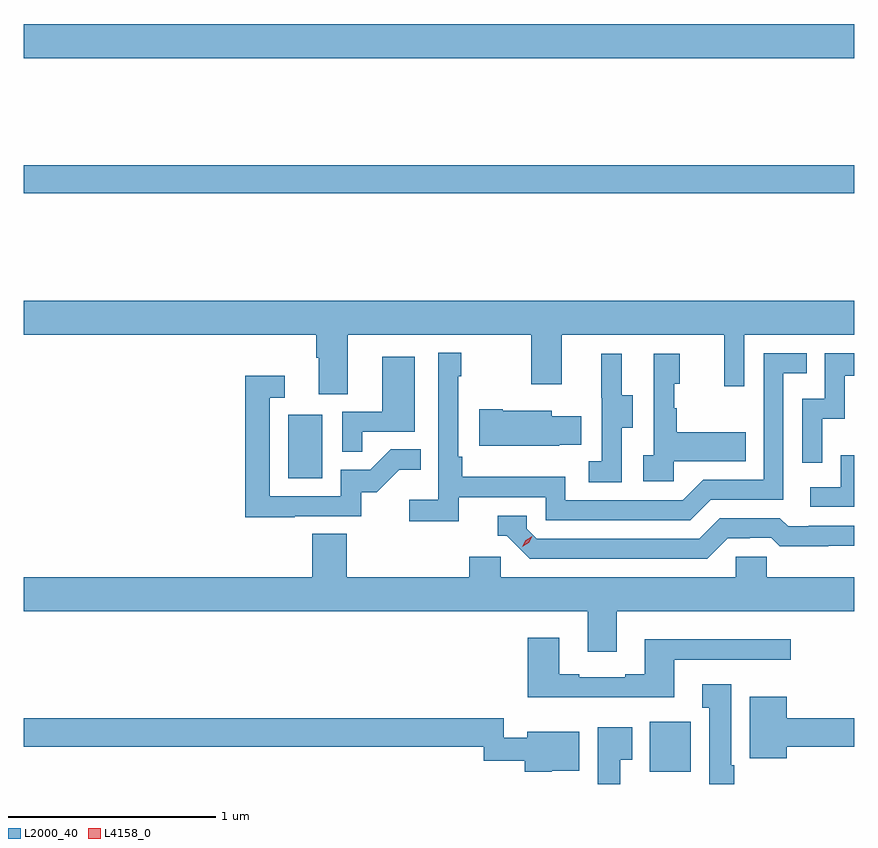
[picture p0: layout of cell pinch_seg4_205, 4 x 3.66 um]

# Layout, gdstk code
import gdstk
lib = gdstk.Library(unit=1e-6, precision=1e-09)
def R(c, l, rs):  # rectangles x0, y0, x1, y1
    for r in rs: c.add(gdstk.rectangle(r[:2], r[2:], *l))
def P(c, l, *ps):  # polygons
    for p in ps: c.add(gdstk.Polygon(p, *l))
L2000_40 = (2000, 40)
L4158_0 = (4158, 0)

pinch_seg4_205 = lib.new_cell('pinch_seg4_205')
R(pinch_seg4_205, L2000_40, [(966.041,812.03,966.238,812.272), (964.298,813.444,964.462,813.751), (963.025,814.816,967.025,814.952), (963.025,815.468,967.025,815.632)])
P(pinch_seg4_205, L2000_40, [(964.585,814.136),(965.47,814.136),(965.47,813.897),(965.617,813.897),(965.617,814.136),(966.398,814.136),(966.398,813.888),(966.495,813.888),(966.495,814.136),(967.025,814.136),(967.025,814.3),(963.025,814.3),(963.025,814.136),(964.433,814.136),(964.433,814.024),(964.445,814.024),(964.445,813.85),(964.585,813.85)],
  [(965.12,813.354),(965.538,813.354),(965.538,813.243),(966.235,813.243),(966.334,813.342),(966.684,813.342),(966.684,813.951),(966.797,813.951),(966.797,814.047),(966.588,814.047),(966.588,813.438),(966.297,813.438),(966.198,813.339),(965.634,813.339),(965.634,813.451),(965.138,813.451),(965.138,813.547),(965.118,813.547),(965.118,813.935),(965.131,813.935),(965.131,814.048),(965.022,814.048),(965.022,813.34),(964.881,813.34),(964.881,813.238),(965.12,813.238)],
  [(966.87,813.731),(966.98,813.731),(966.98,813.939),(967.025,813.939),(967.025,814.047),(966.882,814.047),(966.882,813.828),(966.774,813.828),(966.774,813.519),(966.87,813.519)],
  [(966.156,813.527),(966.503,813.527),(966.503,813.667),(966.169,813.667),(966.169,813.782),(966.159,813.782),(966.159,813.9),(966.184,813.9),(966.184,814.045),(966.06,814.045),(966.06,813.554),(966.009,813.554),(966.009,813.429),(966.156,813.429)],
  [(965.904,813.688),(965.959,813.688),(965.959,813.843),(965.905,813.843),(965.905,814.045),(965.807,814.045),(965.807,813.831),(965.808,813.831),(965.808,813.527),(965.745,813.527),(965.745,813.424),(965.904,813.424)],
  [(964.655,813.669),(964.909,813.669),(964.909,814.03),(964.751,814.03),(964.751,813.765),(964.56,813.765),(964.56,813.571),(964.655,813.571)],
  [(964.331,813.261),(964.65,813.261),(964.65,813.378),(964.726,813.378),(964.833,813.485),(964.937,813.485),(964.937,813.584),(964.793,813.584),(964.695,813.486),(964.551,813.486),(964.551,813.357),(964.209,813.357),(964.209,813.831),(964.282,813.831),(964.282,813.937),(964.093,813.937),(964.093,813.256),(964.331,813.256)],
  [(965.603,813.605),(965.711,813.605),(965.711,813.742),(965.568,813.742),(965.568,813.769),(965.332,813.769),(965.332,813.777),(965.22,813.777),(965.22,813.602),(965.603,813.602)],
  [(967.025,813.556),(966.96,813.556),(966.96,813.402),(966.813,813.402),(966.813,813.306),(967.025,813.306)],
  [(966.415,813.156),(966.522,813.156),(966.522,813.159),(966.625,813.159),(966.667,813.117),(966.9,813.117),(966.9,813.119),(967.025,813.119),(967.025,813.216),(966.805,813.216),(966.805,813.213),(966.706,813.213),(966.667,813.252),(966.378,813.252),(966.279,813.153),(965.496,813.153),(965.448,813.201),(965.448,813.264),(965.309,813.264),(965.309,813.168),(965.352,813.168),(965.463,813.057),(966.316,813.057)],
  [(965.881,812.804),(967.025,812.804),(967.025,812.968),(966.603,812.968),(966.603,813.066),(966.453,813.066),(966.453,812.968),(965.322,812.968),(965.322,813.066),(965.171,813.066),(965.171,812.968),(964.58,812.968),(964.58,813.176),(964.415,813.176),(964.415,812.968),(963.025,812.968),(963.025,812.804),(965.741,812.804),(965.741,812.61),(965.881,812.61)],
  [(966.157,812.571),(966.718,812.571),(966.718,812.668),(966.017,812.668),(966.017,812.5),(965.921,812.5),(965.921,812.487),(965.701,812.487),(965.701,812.5),(965.605,812.5),(965.605,812.677),(965.453,812.677),(965.453,812.39),(966.157,812.39)],
  [(966.448,812.062),(966.433,812.062),(966.433,812.452),(966.293,812.452),(966.293,812.339),(966.326,812.339),(966.326,811.972),(966.448,811.972)],
  [(966.7,812.152),(967.025,812.152),(967.025,812.288),(966.7,812.288),(966.7,812.392),(966.521,812.392),(966.521,812.096),(966.7,812.096)],
  [(965.568,812.036),(965.701,812.036),(965.701,812.224),(965.45,812.224),(965.45,812.195),(965.337,812.195),(965.337,812.288),(963.025,812.288),(963.025,812.152),(965.241,812.152),(965.241,812.085),(965.438,812.085),(965.438,812.03),(965.568,812.03)],
  [(965.899,812.089),(965.956,812.089),(965.956,812.245),(965.789,812.245),(965.789,811.972),(965.899,811.972)])
P(pinch_seg4_205, L4158_0, [(965.426,813.114),(965.426,813.114),(965.442,813.147),(965.474,813.166),(965.474,813.166),(965.474,813.166),(965.457,813.133),(965.426,813.114)])

lib.write_gds('pinch_seg4_205.gds')
